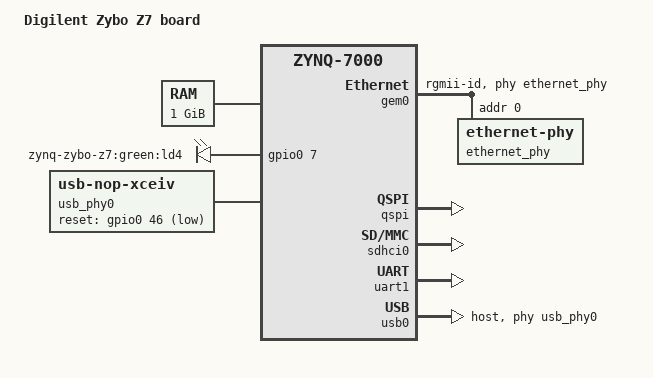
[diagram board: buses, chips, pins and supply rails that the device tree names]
// SPDX-License-Identifier: GPL-2.0+
/*
 *  Copyright (C) 2011 - 2015 Xilinx
 *  Copyright (C) 2012 National Instruments Corp.
 */
/dts-v1/;
#include "zynq-7000.dtsi"
#include <dt-bindings/gpio/gpio.h>

/ {
	model = "Digilent Zybo Z7 board";
	compatible = "digilent,zynq-zybo-z7", "xlnx,zynq-7000";

	aliases {
		ethernet0 = &gem0;
		serial0 = &uart1;
		spi0 = &qspi;
		mmc0 = &sdhci0;
	};

	memory@0 {
		device_type = "memory";
		reg = <0x0 0x40000000>;
	};

	chosen {
		bootargs = "";
		stdout-path = "serial0:115200n8";
	};

	gpio-leds {
		compatible = "gpio-leds";

		ld4 {
			label = "zynq-zybo-z7:green:ld4";
			gpios = <&gpio0 7 GPIO_ACTIVE_HIGH>;
		};
	};

	usb_phy0: phy0 {
		#phy-cells = <0>;
		compatible = "usb-nop-xceiv";
		reset-gpios = <&gpio0 46 GPIO_ACTIVE_LOW>;
	};
};

&clkc {
	ps-clk-frequency = <33333333>;
};

&gem0 {
	status = "okay";
	phy-mode = "rgmii-id";
	phy-handle = <&ethernet_phy>;

	ethernet_phy: ethernet-phy@0 {
		reg = <0>;
		device_type = "ethernet-phy";
	};
};

&qspi {
	u-boot,dm-pre-reloc;
	status = "okay";
};

&sdhci0 {
	u-boot,dm-pre-reloc;
	status = "okay";
};

&uart1 {
	u-boot,dm-pre-reloc;
	status = "okay";
};

&usb0 {
	status = "okay";
	dr_mode = "host";
	usb-phy = <&usb_phy0>;
};
